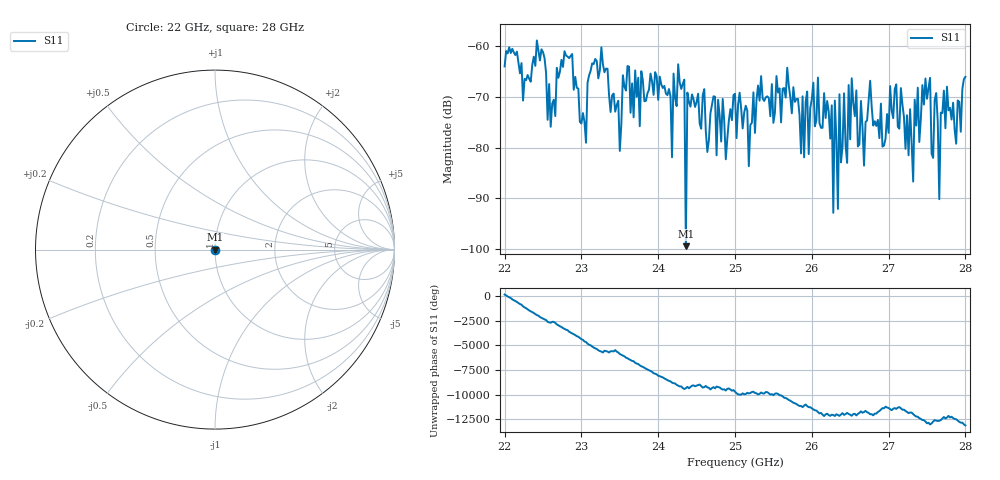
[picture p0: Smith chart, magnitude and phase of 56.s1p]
#  HZ  S  RI  R  50.00
! Rohde & Schwarz ZVA40 4Ports - Version 3.90 - 1145.1110k42 SN: 100403
! Date: 2023-10-04 07:51:32
! Measurement: S12
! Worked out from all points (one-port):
!   301 points, 22 GHz to 28 GHz, reference 50 ohm
!   lowest |S11| = -99.4 dB at 24.36 GHz (marker M1), VSWR 1.00, Z = 50 + j0.000214 ohm
!   |S11| at or under -10 dB: start of sweep to end of sweep
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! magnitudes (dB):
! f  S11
! 22 GHz  -64.0
! 22.42 GHz  -58.9
! 22.6 GHz  -75.9
! 22.76 GHz  -64.1
! 23.06 GHz  -79.1
! 23.26 GHz  -60.3
! 23.5 GHz  -80.7
! 23.6 GHz  -64.0
! 24.18 GHz  -81.9
! 24.26 GHz  -63.6
! 24.36 GHz  -99.4
! 25 GHz  -69.4
! 25.18 GHz  -83.7
! 25.34 GHz  -65.9
! 25.76 GHz  -68.1
! 25.86 GHz  -81.2
! 26.5 GHz  -78.4
! 26.52 GHz  -66.4
! 26.68 GHz  -83.5
! 26.76 GHz  -66.9
! 26.92 GHz  -79.8
! 27.1 GHz  -67.6
! 27.26 GHz  -81.5
! 27.54 GHz  -66.3
! 27.56 GHz  -81.2
! 27.76 GHz  -68.0
! 27.88 GHz  -79.2
! 28 GHz  -66.1
